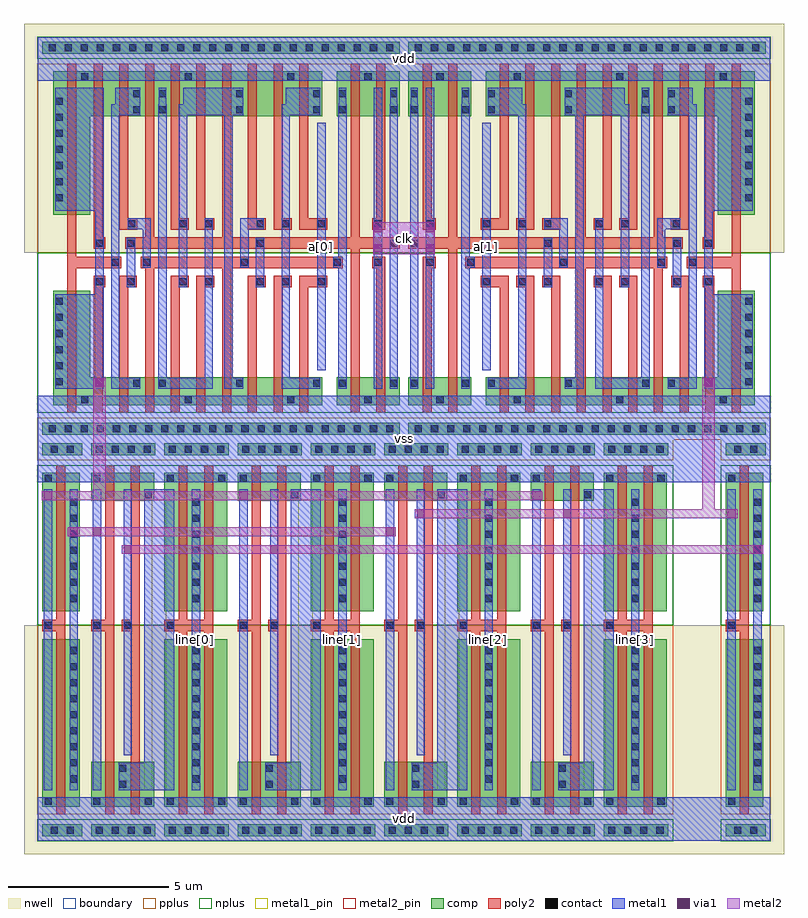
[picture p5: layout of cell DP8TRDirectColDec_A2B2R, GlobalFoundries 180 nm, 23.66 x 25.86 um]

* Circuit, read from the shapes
.subckt DP8TRDirectColDec_A2B2R a[0] a[1] clk line[0] line[1] line[2] line[3] vdd vss
XM1 Dec_nand2_x0_4/i0 Dec_inv_x1_2/i vss vss nfet_03v3 w=4.325u l=0.28u
XM2 vss n1 Dec_inv_x1_2/i vss nfet_03v3 w=3.575u l=0.28u
XM3 n2 Dec_inv_x1_2/i vss vss nfet_03v3 w=0.88u l=0.28u
XM4 n3 Dec_nand2_x0_4/i0 vss vss nfet_03v3 w=0.88u l=0.28u
XM5 n1 n4 n2 vss nfet_03v3 w=0.88u l=0.28u
XM6 Dec_inv_x2_5/i Dec_nand2_x0_4/i1 n3 vss nfet_03v3 w=0.88u l=0.28u
XM7 n5 n6 n1 vss nfet_03v3 w=0.88u l=0.28u
XM8 vss n7 n5 vss nfet_03v3 w=0.88u l=0.28u
XM9 line[0] Dec_inv_x2_5/i vss vss nfet_03v3 w=4.325u l=0.28u m=2
XM10 n8 n5 vss vss nfet_03v3 w=0.88u l=0.28u
XM11 n7 n6 n8 vss nfet_03v3 w=0.88u l=0.28u
XM12 n9 n4 n7 vss nfet_03v3 w=0.88u l=0.28u
XM13 n10 Dec_inv_x1_2/i vss vss nfet_03v3 w=0.88u l=0.28u
XM14 vss n11 n9 vss nfet_03v3 w=0.88u l=0.28u
XM15 Dec_inv_x2_7/i Dec_nand2_x0_4/i1 n10 vss nfet_03v3 w=0.88u l=0.28u
XM16 n11 a[0] vss vss nfet_03v3 w=0.88u l=0.28u
XM17 line[1] Dec_inv_x2_7/i vss vss nfet_03v3 w=4.325u l=0.28u m=2
XM18 vss n4 n6 vss nfet_03v3 w=0.88u l=0.28u
XM19 n4 clk vss vss nfet_03v3 w=0.88u l=0.28u
XM20 n12 Dec_nand2_x0_4/i0 vss vss nfet_03v3 w=0.88u l=0.28u
XM21 vss clk n13 vss nfet_03v3 w=0.88u l=0.28u
XM22 Dec_inv_x2_9/i Dec_inv_x1_3/i n12 vss nfet_03v3 w=0.88u l=0.28u
XM23 n14 n13 vss vss nfet_03v3 w=0.88u l=0.28u
XM24 line[2] Dec_inv_x2_9/i vss vss nfet_03v3 w=4.325u l=0.28u m=2
XM25 vss a[1] n15 vss nfet_03v3 w=0.88u l=0.28u
XM26 n16 n15 vss vss nfet_03v3 w=0.88u l=0.28u
XM27 n17 Dec_inv_x1_2/i vss vss nfet_03v3 w=0.88u l=0.28u
XM28 n18 n13 n16 vss nfet_03v3 w=0.88u l=0.28u
XM29 Dec_inv_x2_11/i Dec_inv_x1_3/i n17 vss nfet_03v3 w=0.88u l=0.28u
XM30 n19 n14 n18 vss nfet_03v3 w=0.88u l=0.28u
XM31 vss n20 n19 vss nfet_03v3 w=0.88u l=0.28u
XM32 line[3] Dec_inv_x2_11/i vss vss nfet_03v3 w=4.325u l=0.28u m=2
XM33 n20 n18 vss vss nfet_03v3 w=0.88u l=0.28u
XM34 n21 n14 n20 vss nfet_03v3 w=0.88u l=0.28u
XM35 n22 n13 n21 vss nfet_03v3 w=0.88u l=0.28u
XM36 vss Dec_inv_x1_3/i n22 vss nfet_03v3 w=0.88u l=0.28u
XM37 Dec_inv_x1_3/i n21 vss vss nfet_03v3 w=3.575u l=0.28u
XM38 Dec_nand2_x0_4/i1 Dec_inv_x1_3/i vss vss nfet_03v3 w=4.325u l=0.28u
XM39 Dec_nand2_x0_4/i0 Dec_inv_x1_2/i vdd vdd pfet_03v3 w=5.225u l=0.28u
XM40 vdd n1 Dec_inv_x1_2/i vdd pfet_03v3 w=4.475u l=0.28u
XM41 n23 Dec_inv_x1_2/i vdd vdd pfet_03v3 w=1.4u l=0.28u
XM42 Dec_inv_x2_5/i Dec_nand2_x0_4/i0 vdd vdd pfet_03v3 w=1.4u l=0.28u
XM43 n1 n6 n23 vdd pfet_03v3 w=1.4u l=0.28u
XM44 vdd Dec_nand2_x0_4/i1 Dec_inv_x2_5/i vdd pfet_03v3 w=1.4u l=0.28u
XM45 n5 n4 n1 vdd pfet_03v3 w=1.4u l=0.28u
XM46 vdd n7 n5 vdd pfet_03v3 w=1.4u l=0.28u
XM47 line[0] Dec_inv_x2_5/i vdd vdd pfet_03v3 w=5.225u l=0.28u m=2
XM48 n24 n5 vdd vdd pfet_03v3 w=1.4u l=0.28u
XM49 n7 n4 n24 vdd pfet_03v3 w=1.4u l=0.28u
XM50 n25 n6 n7 vdd pfet_03v3 w=1.4u l=0.28u
XM51 Dec_inv_x2_7/i Dec_inv_x1_2/i vdd vdd pfet_03v3 w=1.4u l=0.28u
XM52 vdd n11 n25 vdd pfet_03v3 w=1.4u l=0.28u
XM53 vdd Dec_nand2_x0_4/i1 Dec_inv_x2_7/i vdd pfet_03v3 w=1.4u l=0.28u
XM54 n11 a[0] vdd vdd pfet_03v3 w=1.4u l=0.28u
XM55 line[1] Dec_inv_x2_7/i vdd vdd pfet_03v3 w=5.225u l=0.28u m=2
XM56 vdd n4 n6 vdd pfet_03v3 w=1.4u l=0.28u
XM57 n4 clk vdd vdd pfet_03v3 w=1.4u l=0.28u
XM58 Dec_inv_x2_9/i Dec_nand2_x0_4/i0 vdd vdd pfet_03v3 w=1.4u l=0.28u
XM59 vdd clk n13 vdd pfet_03v3 w=1.4u l=0.28u
XM60 vdd Dec_inv_x1_3/i Dec_inv_x2_9/i vdd pfet_03v3 w=1.4u l=0.28u
XM61 n14 n13 vdd vdd pfet_03v3 w=1.4u l=0.28u
XM62 line[2] Dec_inv_x2_9/i vdd vdd pfet_03v3 w=5.225u l=0.28u m=2
XM63 vdd a[1] n15 vdd pfet_03v3 w=1.4u l=0.28u
XM64 n26 n15 vdd vdd pfet_03v3 w=1.4u l=0.28u
XM65 Dec_inv_x2_11/i Dec_inv_x1_2/i vdd vdd pfet_03v3 w=1.4u l=0.28u
XM66 n18 n14 n26 vdd pfet_03v3 w=1.4u l=0.28u
XM67 vdd Dec_inv_x1_3/i Dec_inv_x2_11/i vdd pfet_03v3 w=1.4u l=0.28u
XM68 n27 n13 n18 vdd pfet_03v3 w=1.4u l=0.28u
XM69 vdd n20 n27 vdd pfet_03v3 w=1.4u l=0.28u
XM70 line[3] Dec_inv_x2_11/i vdd vdd pfet_03v3 w=5.225u l=0.28u m=2
XM71 n20 n18 vdd vdd pfet_03v3 w=1.4u l=0.28u
XM72 n21 n13 n20 vdd pfet_03v3 w=1.4u l=0.28u
XM73 n28 n14 n21 vdd pfet_03v3 w=1.4u l=0.28u
XM74 vdd Dec_inv_x1_3/i n28 vdd pfet_03v3 w=1.4u l=0.28u
XM75 Dec_inv_x1_3/i n21 vdd vdd pfet_03v3 w=4.475u l=0.28u
XM76 Dec_nand2_x0_4/i1 Dec_inv_x1_3/i vdd vdd pfet_03v3 w=5.225u l=0.28u
.ends

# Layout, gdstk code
from math import pi, radians
import gdstk
lib = gdstk.Library(unit=1e-6, precision=1e-09)
def R(c, l, rs):  # rectangles x0, y0, x1, y1
    for r in rs: c.add(gdstk.rectangle(r[:2], r[2:], *l))
def A(c, l, x, y, w, h, nx, ny, dx, dy):  # array of equal rectangles
    R(c, l, [(x+i*dx, y+j*dy, x+i*dx+w, y+j*dy+h) for i in range(nx) for j in range(ny)])
def P(c, l, *ps):  # polygons
    for p in ps: c.add(gdstk.Polygon(p, *l))
boundary = (0, 0)
nwell = (21, 0)
comp = (22, 0)
poly2 = (30, 0)
pplus = (31, 0)
nplus = (32, 0)
contact = (33, 0)
metal1 = (34, 0)
metal1_pin = (34, 10)
via1 = (35, 0)
metal2 = (36, 0)
metal2_pin = (36, 10)

dec_dff_x1 = lib.new_cell('Dec_dff_x1')
R(dec_dff_x1, nwell, [(-0.43,5.8,11.83,12.93)])
R(dec_dff_x1, comp, [(0.14,0.14,11.26,0.5), (0.14,1.045,2.1,1.925), (0.14,10.055,2.1,11.455), (0.14,12,11.26,12.36)])
P(dec_dff_x1, comp, [(9.76,6.98),(9.76,10.055),(2.54,10.055),(2.54,11.455),(10.92,11.455),(10.92,6.98)],
  [(2.54,1.045),(2.54,1.925),(9.76,1.925),(9.76,4.62),(10.92,4.62),(10.92,1.045)])
P(dec_dff_x1, poly2, [(8.58,0.825),(8.58,4.72),(8.32,4.72),(8.32,5.08),(8.86,5.08),(8.86,0.825)],
  [(4.58,0.825),(4.58,4.72),(4.3,4.72),(4.3,5.08),(4.86,5.08),(4.86,0.825)],
  [(1.38,0.825),(1.38,5.92),(0.14,5.92),(0.14,6.28),(1.38,6.28),(1.38,11.675),(1.66,11.675),(1.66,6.28),(5.38,6.28),(5.38,11.675),(5.66,11.675),(5.66,6.28),(7.78,6.28),(7.78,11.675),(8.06,11.675),(8.06,6.28),(8.68,6.28),(8.68,5.92),(1.66,5.92),(1.66,0.825)],
  [(0.58,6.52),(0.58,11.675),(0.86,11.675),(0.86,6.88),(0.99,6.88),(0.99,6.52)],
  [(0.58,0.825),(0.58,5.68),(0.99,5.68),(0.99,5.32),(0.86,5.32),(0.86,0.825)],
  [(5.38,0.825),(5.38,5.32),(1.9,5.32),(1.9,5.68),(8.19,5.68),(8.19,5.32),(8.06,5.32),(8.06,0.825),(7.78,0.825),(7.78,5.32),(5.66,5.32),(5.66,0.825)],
  [(8.3,6.52),(8.3,6.88),(8.58,6.88),(8.58,11.675),(8.86,11.675),(8.86,6.52)],
  [(4.3,6.52),(4.3,6.88),(4.58,6.88),(4.58,11.675),(4.86,11.675),(4.86,6.52)],
  [(3.5,6.52),(3.5,6.88),(3.78,6.88),(3.78,11.675),(4.06,11.675),(4.06,6.52)],
  [(3.78,0.825),(3.78,4.72),(3.5,4.72),(3.5,5.08),(4.06,5.08),(4.06,0.825)],
  [(2.39,6.52),(2.39,6.88),(2.98,6.88),(2.98,11.675),(3.26,11.675),(3.26,6.52)],
  [(2.98,0.825),(2.98,4.72),(2.39,4.72),(2.39,5.08),(3.26,5.08),(3.26,0.825)],
  [(6.7,6.52),(6.7,6.88),(6.98,6.88),(6.98,11.675),(7.26,11.675),(7.26,6.52)],
  [(6.98,0.825),(6.98,4.72),(6.7,4.72),(6.7,5.08),(7.26,5.08),(7.26,0.825)],
  [(5.9,6.52),(5.9,6.88),(6.18,6.88),(6.18,11.675),(6.46,11.675),(6.46,6.52)],
  [(6.18,0.825),(6.18,4.72),(5.9,4.72),(5.9,5.08),(6.46,5.08),(6.46,0.825)],
  [(10.2,0.825),(10.2,5.32),(8.81,5.32),(8.81,5.68),(10.2,5.68),(10.2,11.675),(10.48,11.675),(10.48,0.825)],
  [(9.3,5.92),(9.3,6.28),(9.38,6.28),(9.38,11.675),(9.66,11.675),(9.66,5.92)],
  [(9.38,0.825),(9.38,4.72),(9.3,4.72),(9.3,5.08),(9.66,5.08),(9.66,0.825)])
R(dec_dff_x1, pplus, [(-0.02,-0.02,11.42,0.66), (-0.02,5.8,11.42,11.685)])
R(dec_dff_x1, nplus, [(-0.02,0.815,11.42,5.8), (-0.02,11.84,11.42,12.52)])
A(dec_dff_x1, contact, 0.34, 0.21, 0.22, 0.22, 22, 2, 0.5, 11.86)
A(dec_dff_x1, contact, 2.61, 1.63, 0.22, 0.22, 3, 2, 2.4, 8.51)
A(dec_dff_x1, contact, 10.63, 1.675, 0.22, 0.22, 1, 6, 0, 0.5)
A(dec_dff_x1, contact, 10.63, 7.405, 0.22, 0.22, 1, 7, 0, 0.5)
A(dec_dff_x1, contact, 2.61, 10.64, 0.22, 0.22, 3, 1, 2.4, 0)
R(dec_dff_x1, contact, [(1.01,1.115,1.23,1.335), (3.41,1.115,3.63,1.335), (6.61,1.115,6.83,1.335), (9.83,1.115,10.05,1.335), (0.21,1.63,0.43,1.85), (1.81,1.63,2.03,1.85), (8.21,1.63,8.43,1.85), (2.46,4.79,2.68,5.01), (3.57,4.79,3.79,5.01), (4.37,4.79,4.59,5.01), (5.97,4.79,6.19,5.01), (6.77,4.79,6.99,5.01), (8.39,4.79,8.61,5.01), (9.37,4.79,9.59,5.01), (0.7,5.39,0.92,5.61), (1.97,5.39,2.19,5.61), (4.86,5.39,5.08,5.61), (7.9,5.39,8.12,5.61), (8.88,5.39,9.1,5.61), (0.21,5.99,0.43,6.21), (4.37,5.99,4.59,6.21), (8.39,5.99,8.61,6.21), (9.37,5.99,9.59,6.21), (0.7,6.59,0.92,6.81), (2.46,6.59,2.68,6.81), (3.57,6.59,3.79,6.81), (4.37,6.59,4.59,6.81), (5.97,6.59,6.19,6.81), (6.77,6.59,6.99,6.81), (8.37,6.59,8.59,6.81), (0.21,10.14,0.43,10.36), (1.81,10.14,2.03,10.36), (8.21,10.14,8.43,10.36), (0.21,10.64,0.43,10.86), (1.81,10.64,2.03,10.86), (8.21,10.64,8.43,10.86), (1.01,11.165,1.23,11.385), (3.41,11.165,3.63,11.385), (6.61,11.165,6.83,11.385), (9.83,11.165,10.05,11.385)])
R(dec_dff_x1, metal1, [(0,0,11.4,1.34), (0.68,1.57,0.94,10.93), (2.44,2.14,2.7,9.85), (4.35,4.73,4.61,6.27), (8.37,4.73,8.63,6.27), (0,11.16,11.4,12.5)])
P(dec_dff_x1, metal1, [(0.19,1.57),(0.19,10.42),(0.205,10.42),(0.205,10.93),(0.435,10.93),(0.435,10.42),(0.45,10.42),(0.45,1.57)],
  [(7.88,5.33),(7.88,6.87),(8.595,6.87),(8.595,6.53),(8.14,6.53),(8.14,5.33)],
  [(4.84,5.33),(4.84,6.53),(4.365,6.53),(4.365,6.87),(5.1,6.87),(5.1,5.33)],
  [(1.79,1.57),(1.79,10.42),(1.805,10.42),(1.805,10.93),(2.035,10.93),(2.035,10.42),(2.05,10.42),(2.05,5.67),(2.195,5.67),(2.195,5.33),(2.05,5.33),(2.05,1.57)],
  [(2.605,1.57),(2.605,1.91),(3.55,1.91),(3.55,10.08),(2.605,10.08),(2.605,10.93),(3.68,10.93),(3.68,10.42),(3.81,10.42),(3.81,1.57)],
  [(5.005,1.57),(5.005,1.91),(5.33,1.91),(5.33,10.08),(5.005,10.08),(5.005,10.93),(6.88,10.93),(6.88,10.42),(7.01,10.42),(7.01,4.73),(6.75,4.73),(6.75,10.08),(5.59,10.08),(5.59,1.57)],
  [(5.95,1.57),(5.95,6.87),(6.21,6.87),(6.21,1.91),(7.39,1.91),(7.39,10.42),(7.405,10.42),(7.405,10.93),(7.635,10.93),(7.635,10.42),(7.65,10.42),(7.65,1.57)],
  [(8.205,1.57),(8.205,1.91),(8.86,1.91),(8.86,10.08),(8.205,10.08),(8.205,10.93),(8.99,10.93),(8.99,10.42),(9.12,10.42),(9.12,1.57)],
  [(9.35,1.57),(9.35,10.93),(10.855,10.93),(10.855,7.1),(9.61,7.1),(9.61,4.5),(10.855,4.5),(10.855,1.57)])
R(dec_dff_x1, metal1_pin, [(0,0,11.4,1.34), (0.68,1.57,0.94,10.93), (9.35,1.57,9.61,10.93), (2.44,2.14,2.7,9.85), (0,11.16,11.4,12.5)])
dec_dff_x1.add(gdstk.Label('vdd', (5.7,11.83), layer=34, texttype=10))
dec_dff_x1.add(gdstk.Label('vss', (5.7,0.67), layer=34, texttype=10))
dec_dff_x1.add(gdstk.Label('clk', (0.81,6.25), layer=34, texttype=10))
dec_dff_x1.add(gdstk.Label('i', (2.57,5.995), layer=34, texttype=10))
dec_dff_x1.add(gdstk.Label('q', (9.48,6.25), layer=34, texttype=10))

dec_inv_x1 = lib.new_cell('Dec_inv_x1')
R(dec_inv_x1, nwell, [(-0.43,5.8,1.95,12.93)])
R(dec_inv_x1, comp, [(0.14,0.14,1.38,0.5), (0.14,1.045,1.3,5.37), (0.14,6.23,1.3,11.455), (0.14,12,1.38,12.36)])
P(dec_inv_x1, poly2, [(0.58,0.825),(0.58,5.62),(0.14,5.62),(0.14,5.98),(0.58,5.98),(0.58,11.675),(0.86,11.675),(0.86,0.825)])
R(dec_inv_x1, pplus, [(-0.02,-0.02,1.54,0.66), (-0.02,5.8,1.54,11.685)])
R(dec_inv_x1, nplus, [(-0.02,0.815,1.54,5.8), (-0.02,11.84,1.54,12.52)])
A(dec_inv_x1, contact, 1.01, 1.855, 0.22, 0.22, 1, 7, 0, 0.5)
A(dec_inv_x1, contact, 1.01, 6.475, 0.22, 0.22, 1, 9, 0, 0.5)
R(dec_inv_x1, contact, [(0.4,0.21,0.62,0.43), (0.9,0.21,1.12,0.43), (0.21,1.115,0.43,1.335), (0.21,5.69,0.43,5.91), (0.21,11.165,0.43,11.385), (0.4,12.07,0.62,12.29), (0.9,12.07,1.12,12.29)])
R(dec_inv_x1, metal1, [(0,0,1.52,1.34), (0.19,1.57,0.45,10.93), (0.99,1.57,1.25,10.93), (0,11.16,1.52,12.5)])
R(dec_inv_x1, metal1_pin, [(0,0,1.52,1.34), (0.19,1.57,0.45,10.93), (0.99,1.57,1.25,10.93), (0,11.16,1.52,12.5)])
dec_inv_x1.add(gdstk.Label('vss', (0.76,0.67), layer=34, texttype=10))
dec_inv_x1.add(gdstk.Label('vdd', (0.76,11.83), layer=34, texttype=10))
dec_inv_x1.add(gdstk.Label('nq', (1.12,6.25), layer=34, texttype=10))
dec_inv_x1.add(gdstk.Label('i', (0.32,6.25), layer=34, texttype=10))

dec_nand2_x0 = lib.new_cell('Dec_nand2_x0')
R(dec_nand2_x0, nwell, [(-0.43,5.8,2.71,12.93)])
R(dec_nand2_x0, comp, [(0.14,0.14,2.14,0.5), (0.14,1.045,2.1,1.925), (0.14,10.055,2.1,11.455), (0.14,12,2.14,12.36)])
P(dec_nand2_x0, poly2, [(0.58,0.825),(0.58,5.62),(0.14,5.62),(0.14,5.98),(0.58,5.98),(0.58,11.675),(0.86,11.675),(0.86,0.825)],
  [(1.38,0.825),(1.38,5.62),(1.1,5.62),(1.1,5.98),(1.38,5.98),(1.38,11.675),(1.66,11.675),(1.66,0.825)])
R(dec_nand2_x0, pplus, [(-0.02,-0.02,2.3,0.66), (-0.02,5.8,2.3,11.685)])
R(dec_nand2_x0, nplus, [(-0.02,0.815,2.3,5.8), (-0.02,11.84,2.3,12.52)])
A(dec_nand2_x0, contact, 0.28, 0.21, 0.22, 0.22, 4, 2, 0.5, 11.86)
R(dec_nand2_x0, contact, [(0.21,1.115,0.43,1.335), (1.81,1.63,2.03,1.85), (0.21,5.69,0.43,5.91), (1.17,5.69,1.39,5.91), (1.01,10.14,1.23,10.36), (1.01,10.64,1.23,10.86), (0.21,11.165,0.43,11.385), (1.81,11.165,2.03,11.385)])
R(dec_nand2_x0, metal1, [(0,0,2.28,1.34), (0.19,1.57,0.45,10.93), (1.15,1.57,1.41,9.85), (0,11.16,2.28,12.5)])
P(dec_nand2_x0, metal1, [(1.79,1.57),(1.79,10.08),(1.005,10.08),(1.005,10.93),(2.05,10.93),(2.05,1.57)])
R(dec_nand2_x0, metal1_pin, [(0,0,2.28,1.34), (0.19,1.57,0.45,10.93), (1.15,1.57,1.41,9.85), (1.79,1.57,2.05,10.93), (0,11.16,2.28,12.5)])
dec_nand2_x0.add(gdstk.Label('vss', (1.14,0.67), layer=34, texttype=10))
dec_nand2_x0.add(gdstk.Label('vdd', (1.14,11.83), layer=34, texttype=10))
dec_nand2_x0.add(gdstk.Label('i0', (0.32,6.25), layer=34, texttype=10))
dec_nand2_x0.add(gdstk.Label('nq', (1.92,6.25), layer=34, texttype=10))
dec_nand2_x0.add(gdstk.Label('i1', (1.28,5.71), layer=34, texttype=10))

dec_inv_x2 = lib.new_cell('Dec_inv_x2')
R(dec_inv_x2, nwell, [(-0.43,5.8,2.71,12.93)])
R(dec_inv_x2, comp, [(0.14,0.14,2.14,0.5), (0.14,1.045,2.1,5.37), (0.14,6.23,2.1,11.455), (0.14,12,2.14,12.36)])
P(dec_inv_x2, poly2, [(0.58,0.825),(0.58,5.62),(0.14,5.62),(0.14,5.98),(0.58,5.98),(0.58,11.675),(0.86,11.675),(0.86,5.98),(1.38,5.98),(1.38,11.675),(1.66,11.675),(1.66,0.825),(1.38,0.825),(1.38,5.62),(0.86,5.62),(0.86,0.825)])
R(dec_inv_x2, pplus, [(-0.02,-0.02,2.3,0.66), (-0.02,5.8,2.3,11.685)])
R(dec_inv_x2, nplus, [(-0.02,0.815,2.3,5.8), (-0.02,11.84,2.3,12.52)])
A(dec_inv_x2, contact, 0.28, 0.21, 0.22, 0.22, 4, 2, 0.5, 11.86)
A(dec_inv_x2, contact, 1.01, 1.855, 0.22, 0.22, 1, 7, 0, 0.5)
A(dec_inv_x2, contact, 1.01, 6.475, 0.22, 0.22, 1, 9, 0, 0.5)
R(dec_inv_x2, contact, [(0.21,1.115,0.43,1.335), (1.81,1.115,2.03,1.335), (0.21,5.69,0.43,5.91), (0.21,11.165,0.43,11.385), (1.81,11.165,2.03,11.385)])
R(dec_inv_x2, metal1, [(0,0,2.28,1.34), (0.19,1.57,0.45,10.93), (0.99,1.57,1.25,10.93), (0,11.16,2.28,12.5)])
R(dec_inv_x2, metal1_pin, [(0,0,2.28,1.34), (0.19,1.57,0.45,10.93), (0.99,1.57,1.25,10.93), (0,11.16,2.28,12.5)])
dec_inv_x2.add(gdstk.Label('vss', (1.14,0.67), layer=34, texttype=10))
dec_inv_x2.add(gdstk.Label('vdd', (1.14,11.83), layer=34, texttype=10))
dec_inv_x2.add(gdstk.Label('nq', (1.12,6.25), layer=34, texttype=10))
dec_inv_x2.add(gdstk.Label('i', (0.32,6.25), layer=34, texttype=10))

dp8trdirectcoldec_a2b2r = lib.new_cell('DP8TRDirectColDec_A2B2R')
R(dp8trdirectcoldec_a2b2r, boundary, [(0,-12.5,22.8,12.5)])
R(dp8trdirectcoldec_a2b2r, nwell, [(-0.43,-12.93,22.8,-5.8)])
A(dp8trdirectcoldec_a2b2r, metal1, 3.31, -10.93, 0.94, 9.36, 4, 1, 4.56, 0)
A(dp8trdirectcoldec_a2b2r, metal1, 4.79, -10.93, 0.26, 9.36, 4, 1, 4.56, 0)
R(dp8trdirectcoldec_a2b2r, metal1, [(0,-12.5,22.8,-11.16), (2.67,-3.63,2.93,-3.25), (7.23,-3.63,7.49,-3.25), (22.27,-3.63,22.53,-3.25), (0.99,-3.07,1.25,-2.69), (1.71,-3.07,1.97,-2.69), (10.83,-3.07,11.09,-2.69), (11.79,-2.51,12.05,-2.13), (16.35,-2.51,16.61,-2.13), (21.47,-2.51,21.73,-2.13), (0.19,-1.95,0.45,-1.57), (6.27,-1.95,6.53,-1.57), (15.39,-1.95,15.65,-1.57), (0,-1.34,22.8,1.34), (1.79,1.57,2.05,1.95), (20.75,1.57,21.01,1.95), (8.7,2.14,8.96,9.85), (13.84,2.14,14.1,9.85), (10.46,5.75,10.72,6.75), (12.08,5.75,12.34,6.75), (0,11.16,22.8,12.5)])
A(dp8trdirectcoldec_a2b2r, metal1_pin, 4.79, -10.93, 0.26, 9.36, 4, 1, 4.56, 0)
R(dp8trdirectcoldec_a2b2r, metal1_pin, [(0,-12.5,22.8,-11.16), (0,-1.34,22.8,1.34), (8.7,2.14,8.96,9.85), (13.84,2.14,14.1,9.85), (0,11.16,22.8,12.5)])
R(dp8trdirectcoldec_a2b2r, via1, [(2.67,-3.57,2.93,-3.31), (7.23,-3.57,7.49,-3.31), (22.27,-3.57,22.53,-3.31), (0.99,-3.01,1.25,-2.75), (1.71,-3.01,1.97,-2.75), (10.83,-3.01,11.09,-2.75), (11.79,-2.45,12.05,-2.19), (16.35,-2.45,16.61,-2.19), (21.47,-2.45,21.73,-2.19), (0.19,-1.89,0.45,-1.63), (6.27,-1.89,6.53,-1.63), (15.39,-1.89,15.65,-1.63), (1.79,1.63,2.05,1.89), (20.75,1.63,21.01,1.89), (10.46,5.81,10.72,6.07), (12.08,5.81,12.34,6.07), (10.46,6.43,10.72,6.69), (12.08,6.43,12.34,6.69)])
R(dp8trdirectcoldec_a2b2r, metal2, [(2.61,-3.58,22.59,-3.3), (0.93,-3.02,11.15,-2.74), (10.45,5.75,12.35,6.75)])
P(dp8trdirectcoldec_a2b2r, metal2, [(0.13,-1.9),(0.13,-1.62),(1.73,-1.62),(1.73,1.9),(2.11,1.9),(2.11,-1.62),(15.71,-1.62),(15.71,-1.9)],
  [(11.73,-2.46),(11.73,-2.18),(20.69,-2.18),(20.69,1.9),(21.07,1.9),(21.07,-2.18),(21.79,-2.18),(21.79,-2.46)])
R(dp8trdirectcoldec_a2b2r, metal2_pin, [(10.45,5.75,12.35,6.75)])
dp8trdirectcoldec_a2b2r.add(gdstk.Reference(dec_dff_x1, (11.4,0), rotation=pi, x_reflection=True))
dp8trdirectcoldec_a2b2r.add(gdstk.Reference(dec_dff_x1, (11.4,0)))
dp8trdirectcoldec_a2b2r.add(gdstk.Reference(dec_inv_x1, (0,0), x_reflection=True))
dp8trdirectcoldec_a2b2r.add(gdstk.Reference(dec_inv_x1, (21.28,0), x_reflection=True))
dp8trdirectcoldec_a2b2r.add(gdstk.Reference(dec_nand2_x0, (1.52,0), x_reflection=True))
dp8trdirectcoldec_a2b2r.add(gdstk.Reference(dec_inv_x2, (3.8,0), x_reflection=True))
dp8trdirectcoldec_a2b2r.add(gdstk.Reference(dec_nand2_x0, (6.08,0), x_reflection=True))
dp8trdirectcoldec_a2b2r.add(gdstk.Reference(dec_inv_x2, (8.36,0), x_reflection=True))
dp8trdirectcoldec_a2b2r.add(gdstk.Reference(dec_nand2_x0, (10.64,0), x_reflection=True))
dp8trdirectcoldec_a2b2r.add(gdstk.Reference(dec_inv_x2, (12.92,0), x_reflection=True))
dp8trdirectcoldec_a2b2r.add(gdstk.Reference(dec_nand2_x0, (15.2,0), x_reflection=True))
dp8trdirectcoldec_a2b2r.add(gdstk.Reference(dec_inv_x2, (17.48,0), x_reflection=True))
dp8trdirectcoldec_a2b2r.add(gdstk.Label('clk', (11.4,6.25), layer=36, texttype=10))
dp8trdirectcoldec_a2b2r.add(gdstk.Label('vss', (11.4,0), layer=34, texttype=10))
dp8trdirectcoldec_a2b2r.add(gdstk.Label('vdd', (11.4,-11.83), layer=34, texttype=10))
dp8trdirectcoldec_a2b2r.add(gdstk.Label('vdd', (11.4,11.83), layer=34, texttype=10))
dp8trdirectcoldec_a2b2r.add(gdstk.Label('a[0]', (8.83,5.995), layer=34, texttype=10))
dp8trdirectcoldec_a2b2r.add(gdstk.Label('a[1]', (13.97,5.995), layer=34, texttype=10))
dp8trdirectcoldec_a2b2r.add(gdstk.Label('line[0]', (4.92,-6.25), layer=34, texttype=10))
dp8trdirectcoldec_a2b2r.add(gdstk.Label('line[1]', (9.48,-6.25), layer=34, texttype=10))
dp8trdirectcoldec_a2b2r.add(gdstk.Label('line[2]', (14.04,-6.25), layer=34, texttype=10))
dp8trdirectcoldec_a2b2r.add(gdstk.Label('line[3]', (18.6,-6.25), layer=34, texttype=10))

lib.write_gds('DP8TRDirectColDec_A2B2R.gds')
